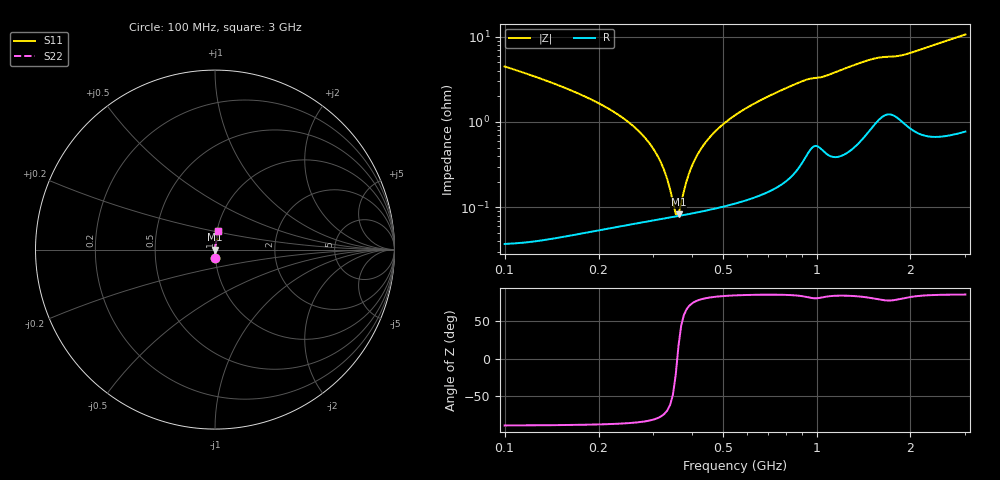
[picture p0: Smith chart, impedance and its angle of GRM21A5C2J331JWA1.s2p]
!Murata Part Number: GRM21A5C2J331JWA1
!These Parameters are Measured in Series Mode Connection
!Data Generated on Mar 30, 2021
!  o--ll--o
!Port1  Port2
!  o------o
!Operation Temp=25[degC], DC Bias Voltage=0[V]
!Freq. Start=100[MHz] Stop=3[GHz] 401[Steps]
# Hz S RI R 50
!Freq.(Hz) S11(Real) S11(Imag) S21(Real) S21(Imag) S12(Real) S12(Imag) S22(Real) S22(Imag)
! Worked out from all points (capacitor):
!   401 points, 100 MHz to 3 GHz, reference 50 ohm
!   read as one part in series: C = 328 pF near 114.5 MHz
!   lowest |Z| = 82.9 mohm at 361 MHz (marker M1)
!   series resonance near 357.7 MHz, so ESL is about 600 pH
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1e8  0.00237 -0.0446  0.9976 0.0446  0.9976 0.0446  0.00237 -0.0446
2.2325e8  0.000752 -0.0132  0.9992 0.0132  0.9992 0.0132  0.000752 -0.0132
2.74e8  0.000714 -0.00727  0.9993 0.00727  0.9993 0.00727  0.000714 -0.00727
2.9575e8  0.00072 -0.00515  0.9993 0.00515  0.9993 0.00515  0.00072 -0.00515
3.175e8  0.000736 -0.00322  0.9993 0.00322  0.9993 0.00322  0.000736 -0.00322
3.465e8  0.000769 -0.000857  0.9992 0.000857  0.9992 0.000857  0.000769 -0.000857
3.5375e8  0.000779 -0.000299  0.9992 0.000299  0.9992 0.000299  0.000779 -0.000299
3.61e8  0.00079 0.000248  0.9992 -0.000248  0.9992 -0.000248  0.00079 0.000248
3.6825e8  0.000801 0.000784  0.9992 -0.000784  0.9992 -0.000784  0.000801 0.000784
3.9e8  0.000838 0.00233  0.9992 -0.00233  0.9992 -0.00233  0.000838 0.00233
4.045e8  0.000866 0.00332  0.9991 -0.00332  0.9991 -0.00332  0.000866 0.00332
4.4075e8  0.000943 0.00568  0.9991 -0.00568  0.9991 -0.00568  0.000943 0.00568
4.9875e8  0.00109 0.00916  0.9989 -0.00916  0.9989 -0.00916  0.00109 0.00916
5.8575e8  0.00138 0.0139  0.9986 -0.0139  0.9986 -0.0139  0.00138 0.0139
6.945e8  0.00187 0.0195  0.9981 -0.0195  0.9981 -0.0195  0.00187 0.0195
8.4675e8  0.0032 0.0271  0.9968 -0.0271  0.9968 -0.0271  0.0032 0.0271
9.41e8  0.00531 0.0311  0.9947 -0.0311  0.9947 -0.0311  0.00531 0.0311
1.0715e9  0.00543 0.0341  0.9946 -0.0341  0.9946 -0.0341  0.00543 0.0341
1.55e9  0.0126 0.0538  0.9874 -0.0538  0.9874 -0.0538  0.0126 0.0538
2.03575e9  0.012 0.064  0.988 -0.064  0.988 -0.064  0.012 0.064
2.5215e9  0.0138 0.0838  0.9862 -0.0838  0.9862 -0.0838  0.0138 0.0838
3e9  0.0184 0.1029  0.9816 -0.1029  0.9816 -0.1029  0.0184 0.1029
